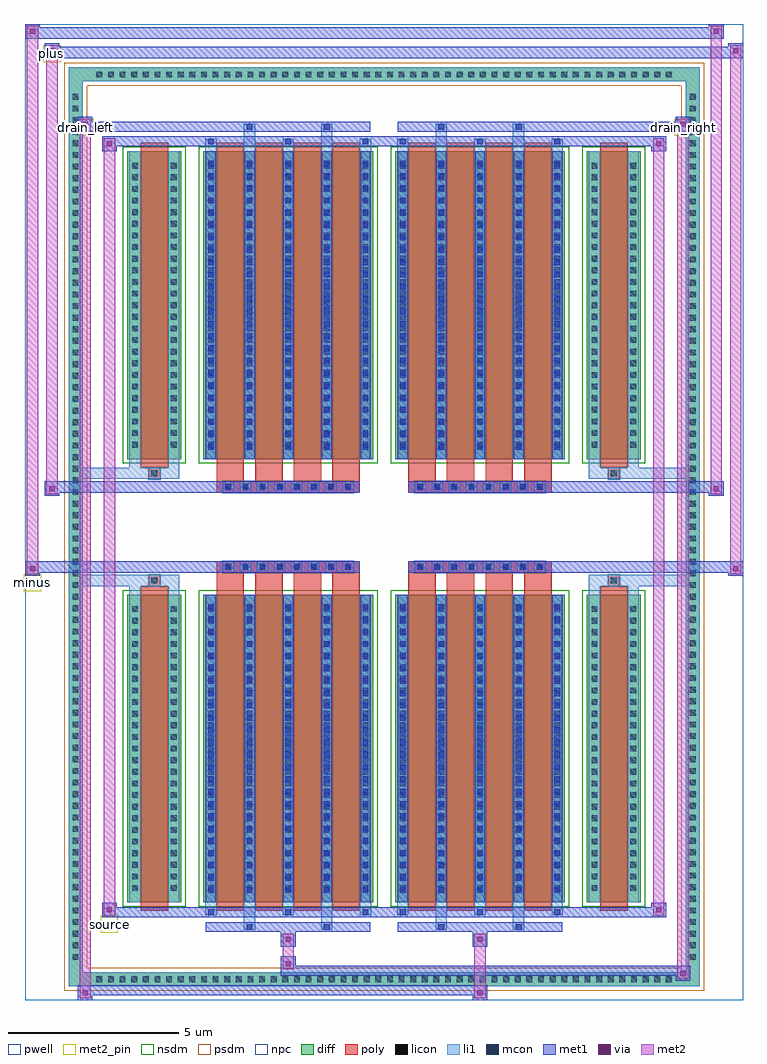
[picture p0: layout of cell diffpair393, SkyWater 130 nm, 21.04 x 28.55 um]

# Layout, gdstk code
import gdstk
lib = gdstk.Library(unit=1e-6, precision=5e-09)
def R(c, l, rs):  # rectangles x0, y0, x1, y1
    for r in rs: c.add(gdstk.rectangle(r[:2], r[2:], *l))
def A(c, l, x, y, w, h, nx, ny, dx, dy):  # array of equal rectangles
    R(c, l, [(x+i*dx, y+j*dy, x+i*dx+w, y+j*dy+h) for i in range(nx) for j in range(ny)])
def P(c, l, *ps):  # polygons
    for p in ps: c.add(gdstk.Polygon(p, *l))
pwell = (64, 44)
diff = (65, 20)
poly = (66, 20)
licon = (66, 44)
li1 = (67, 20)
mcon = (67, 44)
met1 = (68, 20)
via = (68, 44)
met2_pin = (69, 16)
met2 = (69, 20)
nsdm = (93, 44)
psdm = (94, 20)
npc = (95, 20)

diffpair393 = lib.new_cell('diffpair393')
R(diffpair393, pwell, [(-10.5,-13.84,10.5,14.71), (-7.82,-12.03,-0.01,-0.805), (0.01,-12.03,7.82,-0.805), (-7.82,0.805,-0.01,12.03), (0.01,0.805,7.82,12.03)])
A(diffpair393, diff, -8.535, -13.44, 0.41, 0.41, 50, 2, 0.34, 26.47)
A(diffpair393, diff, -9.23, -12.785, 0.41, 0.41, 1, 75, 0, 0.34)
A(diffpair393, diff, 8.82, -12.785, 0.41, 0.41, 1, 75, 0, 0.34)
R(diffpair393, diff, [(-8.535,-13.44,8.535,-13.03), (-9.23,-12.785,-8.82,12.785), (8.82,-12.785,9.23,12.785), (-7.51,-10.985,-5.93,-1.985), (-5.29,-10.985,-0.32,-1.985), (0.32,-10.985,5.29,-1.985), (5.93,-10.985,7.51,-1.985), (-7.51,1.985,-5.93,10.985), (-5.29,1.985,-0.32,10.985), (0.32,1.985,5.29,10.985), (5.93,1.985,7.51,10.985), (-8.535,13.03,8.535,13.44)])
P(diffpair393, diff, [(9.23,13.44),(-9.23,13.44),(-9.23,-13.03),(-8.82,-13.03),(-8.82,13.03),(8.82,13.03),(8.82,-13.03),(-8.82,-13.03),(-9.23,-13.03),(-9.23,-13.44),(9.23,-13.44)])
A(diffpair393, poly, -4.9, -11.235, 0.8, 9.5, 4, 2, 1.13, 12.97)
A(diffpair393, poly, 0.71, -11.235, 0.8, 9.5, 4, 2, 1.13, 12.97)
A(diffpair393, poly, -4.9, -1.735, 0.8, 0.4, 4, 2, 1.13, 3.07)
A(diffpair393, poly, 0.71, -1.735, 0.8, 0.4, 4, 2, 1.13, 3.07)
A(diffpair393, poly, -4.72, -1.335, 0.33, 0.33, 8, 2, 0.5, 2.34)
A(diffpair393, poly, 0.89, -1.335, 0.33, 0.33, 8, 2, 0.5, 2.34)
R(diffpair393, poly, [(-7.12,-11.235,-6.32,-1.735), (6.32,-11.235,7.12,-1.735), (-6.885,-1.735,-6.555,-1.405), (-6.885,-1.735,-6.555,-1.405), (6.555,-1.735,6.885,-1.405), (6.555,-1.735,6.885,-1.405), (-4.9,-1.335,-0.71,-1.005), (0.71,-1.335,4.9,-1.005), (-4.9,1.005,-0.71,1.335), (0.71,1.005,4.9,1.335), (-6.885,1.405,-6.555,1.735), (-6.885,1.405,-6.555,1.735), (6.555,1.405,6.885,1.735), (6.555,1.405,6.885,1.735), (-7.12,1.735,-6.32,11.235), (6.32,1.735,7.12,11.235)])
A(diffpair393, licon, -8.415, -13.32, 0.17, 0.17, 50, 2, 0.34, 26.47)
A(diffpair393, licon, -9.11, -12.665, 0.17, 0.17, 1, 75, 0, 0.34)
A(diffpair393, licon, 8.94, -12.665, 0.17, 0.17, 1, 75, 0, 0.34)
A(diffpair393, licon, -7.37, -10.65, 0.17, 0.17, 1, 25, 0, 0.34)
A(diffpair393, licon, -6.24, -10.65, 0.17, 0.17, 1, 25, 0, 0.34)
A(diffpair393, licon, -5.15, -10.65, 0.17, 0.17, 5, 25, 1.13, 0.34)
A(diffpair393, licon, 0.46, -10.65, 0.17, 0.17, 5, 25, 1.13, 0.34)
A(diffpair393, licon, 6.07, -10.65, 0.17, 0.17, 1, 25, 0, 0.34)
A(diffpair393, licon, 7.2, -10.65, 0.17, 0.17, 1, 25, 0, 0.34)
A(diffpair393, licon, -4.64, -1.255, 0.17, 0.17, 8, 2, 0.5, 2.34)
A(diffpair393, licon, 0.97, -1.255, 0.17, 0.17, 8, 2, 0.5, 2.34)
A(diffpair393, licon, -7.37, 2.32, 0.17, 0.17, 1, 25, 0, 0.34)
A(diffpair393, licon, -6.24, 2.32, 0.17, 0.17, 1, 25, 0, 0.34)
A(diffpair393, licon, -5.15, 2.32, 0.17, 0.17, 5, 25, 1.13, 0.34)
A(diffpair393, licon, 0.46, 2.32, 0.17, 0.17, 5, 25, 1.13, 0.34)
A(diffpair393, licon, 6.07, 2.32, 0.17, 0.17, 1, 25, 0, 0.34)
A(diffpair393, licon, 7.2, 2.32, 0.17, 0.17, 1, 25, 0, 0.34)
R(diffpair393, licon, [(-6.805,-1.655,-6.635,-1.485), (6.635,-1.655,6.805,-1.485), (-6.805,1.485,-6.635,1.655), (6.635,1.485,6.805,1.655)])
A(diffpair393, li1, -8.495, -13.4, 0.33, 0.33, 50, 2, 0.34, 26.47)
A(diffpair393, li1, -9.19, -12.745, 0.33, 0.33, 1, 75, 0, 0.34)
A(diffpair393, li1, 8.86, -12.745, 0.33, 0.33, 1, 75, 0, 0.34)
A(diffpair393, li1, -5.23, -11.36, 0.33, 0.375, 3, 2, 2.26, 22.345)
A(diffpair393, li1, -5.15, -11.36, 0.17, 0.17, 3, 2, 2.26, 22.55)
A(diffpair393, li1, 0.38, -11.36, 0.33, 0.375, 3, 2, 2.26, 22.345)
A(diffpair393, li1, 0.46, -11.36, 0.17, 0.17, 3, 2, 2.26, 22.55)
A(diffpair393, li1, -5.23, -10.985, 0.33, 9, 5, 2, 1.13, 12.97)
A(diffpair393, li1, 0.38, -10.985, 0.33, 9, 5, 2, 1.13, 12.97)
A(diffpair393, li1, -7.45, -10.73, 0.33, 0.33, 1, 25, 0, 0.34)
A(diffpair393, li1, -6.32, -10.73, 0.33, 0.33, 1, 25, 0, 0.34)
A(diffpair393, li1, -5.23, -10.73, 0.33, 0.33, 5, 25, 1.13, 0.34)
A(diffpair393, li1, 0.38, -10.73, 0.33, 0.33, 5, 25, 1.13, 0.34)
A(diffpair393, li1, 5.99, -10.73, 0.33, 0.33, 1, 25, 0, 0.34)
A(diffpair393, li1, 7.12, -10.73, 0.33, 0.33, 1, 25, 0, 0.34)
A(diffpair393, li1, -5.15, -10.71, 0.17, 0.17, 5, 24, 1.13, 0.36)
A(diffpair393, li1, -5.15, -10.71, 0.17, 8.45, 5, 2, 1.13, 12.97)
A(diffpair393, li1, 0.46, -10.71, 0.17, 0.17, 5, 24, 1.13, 0.36)
A(diffpair393, li1, 0.46, -10.71, 0.17, 8.45, 5, 2, 1.13, 12.97)
A(diffpair393, li1, -4.72, -1.335, 0.33, 0.33, 8, 2, 0.5, 2.34)
A(diffpair393, li1, 0.89, -1.335, 0.33, 0.33, 8, 2, 0.5, 2.34)
A(diffpair393, li1, -7.45, 2.24, 0.33, 0.33, 1, 25, 0, 0.34)
A(diffpair393, li1, -6.32, 2.24, 0.33, 0.33, 1, 25, 0, 0.34)
A(diffpair393, li1, -5.23, 2.24, 0.33, 0.33, 5, 25, 1.13, 0.34)
A(diffpair393, li1, 0.38, 2.24, 0.33, 0.33, 5, 25, 1.13, 0.34)
A(diffpair393, li1, 5.99, 2.24, 0.33, 0.33, 1, 25, 0, 0.34)
A(diffpair393, li1, 7.12, 2.24, 0.33, 0.33, 1, 25, 0, 0.34)
A(diffpair393, li1, -5.15, 2.26, 0.17, 0.17, 5, 24, 1.13, 0.36)
A(diffpair393, li1, 0.46, 2.26, 0.17, 0.17, 5, 24, 1.13, 0.36)
R(diffpair393, li1, [(-9.23,-13.44,-8.82,-13.03), (-9.23,-13.44,-8.82,-13.03), (-8.82,-13.44,8.82,-13.03), (8.82,-13.44,9.23,-13.03), (8.82,-13.44,9.23,-13.03), (-9.23,-13.03,-8.82,13.03), (8.82,-13.03,9.23,13.03), (-4.1,-11.79,-3.77,-10.985), (-4.02,-11.79,-3.85,-11.62), (-1.84,-11.79,-1.51,-10.985), (-1.76,-11.79,-1.59,-11.62), (1.51,-11.79,1.84,-10.985), (1.59,-11.79,1.76,-11.62), (3.77,-11.79,4.1,-10.985), (3.85,-11.79,4.02,-11.62), (-7.45,-10.985,-7.12,-1.985), (-6.32,-10.985,-5.99,-1.985), (5.99,-10.985,6.32,-1.985), (7.12,-10.985,7.45,-1.985), (-7.45,-1.985,-7.12,-1.405), (-6.32,-1.985,-5.99,-1.405), (5.99,-1.985,6.32,-1.405), (7.12,-1.985,7.45,-1.405), (-9.23,-1.735,-6.885,-1.405), (-7.45,-1.735,-6.885,-1.405), (-6.885,-1.735,-6.555,-1.405), (-6.555,-1.735,-5.99,-1.405), (5.99,-1.735,6.555,-1.405), (6.555,-1.735,6.885,-1.405), (6.555,-1.735,9.23,-1.405), (6.885,-1.735,7.45,-1.405), (-9.23,1.405,-6.885,1.735), (-7.45,1.405,-6.885,1.735), (-7.45,1.405,-7.12,1.985), (-6.885,1.405,-6.555,1.735), (-6.555,1.405,-5.99,1.735), (-6.32,1.405,-5.99,1.985), (5.99,1.405,6.555,1.735), (5.99,1.405,6.32,1.985), (6.555,1.405,6.885,1.735), (6.555,1.405,9.23,1.735), (6.885,1.405,7.45,1.735), (7.12,1.405,7.45,1.985), (-7.45,1.985,-7.12,10.985), (-6.32,1.985,-5.99,10.985), (5.99,1.985,6.32,10.985), (7.12,1.985,7.45,10.985), (-4.1,10.985,-3.77,11.79), (-1.84,10.985,-1.51,11.79), (1.51,10.985,1.84,11.79), (3.77,10.985,4.1,11.79), (-4.02,11.62,-3.85,11.79), (-1.76,11.62,-1.59,11.79), (1.59,11.62,1.76,11.79), (3.85,11.62,4.02,11.79), (-9.23,13.03,-8.82,13.44), (-9.23,13.03,-8.82,13.44), (-8.82,13.03,8.82,13.44), (8.82,13.03,9.23,13.44), (8.82,13.03,9.23,13.44)])
A(diffpair393, mcon, -5.15, -11.36, 0.17, 0.17, 3, 2, 2.26, 22.55)
A(diffpair393, mcon, 0.46, -11.36, 0.17, 0.17, 3, 2, 2.26, 22.55)
A(diffpair393, mcon, -5.15, -10.71, 0.17, 0.17, 5, 24, 1.13, 0.36)
A(diffpair393, mcon, 0.46, -10.71, 0.17, 0.17, 5, 24, 1.13, 0.36)
A(diffpair393, mcon, -4.64, -1.255, 0.17, 0.17, 8, 2, 0.5, 2.34)
A(diffpair393, mcon, 0.97, -1.255, 0.17, 0.17, 8, 2, 0.5, 2.34)
A(diffpair393, mcon, -5.15, 2.26, 0.17, 0.17, 5, 24, 1.13, 0.36)
A(diffpair393, mcon, 0.46, 2.26, 0.17, 0.17, 5, 24, 1.13, 0.36)
R(diffpair393, mcon, [(-4.02,-11.79,-3.85,-11.62), (-1.76,-11.79,-1.59,-11.62), (1.59,-11.79,1.76,-11.62), (3.85,-11.79,4.02,-11.62), (-4.02,11.62,-3.85,11.79), (-1.76,11.62,-1.59,11.79), (1.59,11.62,1.76,11.79), (3.85,11.62,4.02,11.79)])
A(diffpair393, met1, -5.21, -11.42, 0.29, 0.29, 3, 2, 2.26, 22.55)
A(diffpair393, met1, 0.4, -11.42, 0.29, 0.29, 3, 2, 2.26, 22.55)
A(diffpair393, met1, -5.21, -10.985, 0.29, 9, 5, 2, 1.13, 12.97)
A(diffpair393, met1, 0.4, -10.985, 0.29, 9, 5, 2, 1.13, 12.97)
A(diffpair393, met1, -5.21, -10.77, 0.29, 0.29, 5, 24, 1.13, 0.36)
A(diffpair393, met1, 0.4, -10.77, 0.29, 0.29, 5, 24, 1.13, 0.36)
A(diffpair393, met1, -4.7, -1.315, 0.29, 0.29, 8, 2, 0.5, 2.34)
A(diffpair393, met1, 0.91, -1.315, 0.29, 0.29, 8, 2, 0.5, 2.34)
A(diffpair393, met1, -5.21, 2.2, 0.29, 0.29, 5, 24, 1.13, 0.36)
A(diffpair393, met1, 0.4, 2.2, 0.29, 0.29, 5, 24, 1.13, 0.36)
R(diffpair393, met1, [(-8.96,-13.84,-8.53,-13.41), (2.59,-13.84,3.02,-13.41), (-8.96,-13.7,3.02,-13.41), (8.53,-13.27,8.96,-12.84), (-3.02,-13.13,8.96,-12.84), (-3.02,-12.99,-2.59,-12.56), (-3.02,-12.28,-2.59,-11.85), (2.59,-12.28,3.02,-11.85), (-5.21,-11.85,-0.4,-11.56), (-4.08,-11.85,-3.79,-11.56), (-1.82,-11.85,-1.53,-11.56), (0.4,-11.85,5.21,-11.56), (1.53,-11.85,1.82,-11.56), (3.79,-11.85,4.08,-11.56), (-8.25,-11.42,-7.82,-10.99), (-8.25,-11.42,-5.21,-11.13), (-5.21,-11.42,-0.4,-11.13), (-0.4,-11.42,0.4,-11.13), (0.4,-11.42,5.21,-11.13), (5.21,-11.42,8.25,-11.13), (7.82,-11.42,8.25,-10.99), (-10.5,-1.435,-10.07,-1.005), (10.07,-1.435,10.5,-1.005), (-10.5,-1.335,-0.71,-1.005), (-4.9,-1.335,-0.71,-1.005), (0.71,-1.335,4.9,-1.005), (0.71,-1.335,10.5,-1.005), (-9.93,0.905,-9.5,1.335), (9.5,0.905,9.93,1.335), (-9.93,1.005,-4.9,1.335), (-4.9,1.005,-0.71,1.335), (0.71,1.005,4.9,1.335), (4.9,1.005,9.93,1.335), (-8.25,10.99,-7.82,11.42), (7.82,10.99,8.25,11.42), (-8.25,11.13,-5.21,11.42), (-5.21,11.13,-0.4,11.42), (-0.4,11.13,0.4,11.42), (0.4,11.13,5.21,11.42), (5.21,11.13,8.25,11.42), (-8.96,11.56,-8.53,11.99), (-8.96,11.56,-5.21,11.85), (-5.21,11.56,-0.4,11.85), (-4.08,11.56,-3.79,11.85), (-1.82,11.56,-1.53,11.85), (0.4,11.56,5.21,11.85), (1.53,11.56,1.82,11.85), (3.79,11.56,4.08,11.85), (5.21,11.56,8.96,11.85), (8.53,11.56,8.96,11.99), (-9.93,13.71,-9.5,14.14), (-9.93,13.71,-7.82,14.04), (-7.82,13.71,7.82,14.04), (7.82,13.71,10.5,14.04), (10.07,13.71,10.5,14.14), (-10.5,14.28,-10.07,14.71), (-10.5,14.28,-7.82,14.61), (-7.82,14.28,7.82,14.61), (7.82,14.28,9.93,14.61), (9.5,14.28,9.93,14.71)])
R(diffpair393, via, [(-8.82,-13.7,-8.67,-13.55), (2.73,-13.7,2.88,-13.55), (8.67,-13.13,8.82,-12.98), (-2.88,-12.85,-2.73,-12.7), (-2.88,-12.14,-2.73,-11.99), (2.73,-12.14,2.88,-11.99), (-8.11,-11.28,-7.96,-11.13), (7.96,-11.28,8.11,-11.13), (-10.36,-1.295,-10.21,-1.145), (10.21,-1.295,10.36,-1.145), (-9.79,1.045,-9.64,1.195), (9.64,1.045,9.79,1.195), (-8.11,11.13,-7.96,11.28), (7.96,11.13,8.11,11.28), (-8.82,11.7,-8.67,11.85), (8.67,11.7,8.82,11.85), (-9.79,13.85,-9.64,14), (10.21,13.85,10.36,14), (-10.36,14.42,-10.21,14.57), (9.64,14.42,9.79,14.57)])
R(diffpair393, met2_pin, [(-8.285,-11.87,-7.785,-11.37), (-10.535,-1.885,-10.035,-1.385), (-8.995,11.44,-8.495,11.94), (8.495,11.44,8.995,11.94), (-9.965,13.59,-9.465,14.09)])
R(diffpair393, met2, [(-8.91,-13.79,-8.58,-13.46), (-8.91,-13.79,-8.58,11.94), (2.64,-13.79,2.97,-13.46), (2.64,-13.46,2.97,-12.23), (8.58,-13.22,8.91,-12.89), (8.58,-13.22,8.91,11.94), (-2.97,-12.94,-2.64,-12.61), (-2.97,-12.61,-2.64,-12.23), (-2.97,-12.23,-2.64,-11.9), (2.64,-12.23,2.97,-11.9), (-8.2,-11.37,-7.87,-11.04), (-8.2,-11.37,-7.87,11.37), (7.87,-11.37,8.2,-11.04), (7.87,-11.37,8.2,11.37), (-10.45,-1.385,-10.12,-1.055), (-10.45,-1.385,-10.12,14.66), (10.12,-1.385,10.45,-1.055), (10.12,-1.385,10.45,14.09), (-9.88,0.955,-9.55,1.285), (-9.88,0.955,-9.55,14.09), (9.55,0.955,9.88,1.285), (9.55,0.955,9.88,14.66), (-8.2,11.04,-7.87,11.37), (7.87,11.04,8.2,11.37), (-8.91,11.61,-8.58,11.94), (8.58,11.61,8.91,11.94), (-9.88,13.76,-9.55,14.09), (10.12,13.76,10.45,14.09), (-10.45,14.33,-10.12,14.66), (9.55,14.33,9.88,14.66)])
P(diffpair393, met2, [(10.45,-1.385),(10.45,-1.385),(10.45,-1.055),(10.45,-1.055)],
  [(10.45,13.76),(10.45,13.76),(10.45,14.09),(10.45,14.09)],
  [(-10.12,-1.385),(-10.12,-1.385),(-10.12,-1.055),(-10.12,-1.055)],
  [(-10.12,14.33),(-10.12,14.33),(-10.12,14.66),(-10.12,14.66)],
  [(9.88,0.955),(9.88,0.955),(9.88,1.285),(9.88,1.285)],
  [(9.88,14.33),(9.88,14.33),(9.88,14.66),(9.88,14.66)],
  [(-9.55,0.955),(-9.55,0.955),(-9.55,1.285),(-9.55,1.285)],
  [(-9.55,13.76),(-9.55,13.76),(-9.55,14.09),(-9.55,14.09)],
  [(-8.58,-13.79),(-8.58,-13.79),(-8.58,-13.46),(-8.58,-13.46)],
  [(-8.58,11.61),(-8.58,11.61),(-8.58,11.94),(-8.58,11.94)],
  [(8.91,-13.22),(8.91,-13.22),(8.91,-12.89),(8.91,-12.89)],
  [(8.91,11.61),(8.91,11.61),(8.91,11.94),(8.91,11.94)],
  [(-7.87,-11.37),(-7.87,-11.37),(-7.87,-11.04),(-7.87,-11.04)],
  [(-7.87,11.04),(-7.87,11.04),(-7.87,11.37),(-7.87,11.37)],
  [(8.2,-11.37),(8.2,-11.37),(8.2,-11.04),(8.2,-11.04)],
  [(8.2,11.04),(8.2,11.04),(8.2,11.37),(8.2,11.37)])
R(diffpair393, nsdm, [(-7.64,-11.115,-5.8,-1.855), (-5.42,-11.115,-0.19,-1.855), (0.19,-11.115,5.42,-1.855), (5.8,-11.115,7.64,-1.855), (-7.64,1.855,-5.8,11.115), (-5.42,1.855,-0.19,11.115), (0.19,1.855,5.42,11.115), (5.8,1.855,7.64,11.115)])
P(diffpair393, psdm, [(9.36,13.57),(-9.36,13.57),(-9.36,-12.9),(-8.69,-12.9),(-8.69,12.9),(8.69,12.9),(8.69,-12.9),(-8.69,-12.9),(-9.36,-12.9),(-9.36,-13.57),(9.36,-13.57)])
A(diffpair393, npc, -4.74, -1.355, 0.37, 0.37, 8, 2, 0.5, 2.34)
A(diffpair393, npc, 0.87, -1.355, 0.37, 0.37, 8, 2, 0.5, 2.34)
R(diffpair393, npc, [(-6.905,-1.755,-6.535,-1.385), (6.535,-1.755,6.905,-1.385), (-4.74,-1.355,-3.87,-0.985), (-4.74,-1.355,-3.87,-0.985), (-4.24,-1.355,-3.37,-0.985), (-4.24,-1.355,-3.37,-0.985), (-3.74,-1.355,-2.87,-0.985), (-3.74,-1.355,-2.87,-0.985), (-3.24,-1.355,-2.37,-0.985), (-3.24,-1.355,-2.37,-0.985), (-2.74,-1.355,-1.87,-0.985), (-2.74,-1.355,-1.87,-0.985), (-2.24,-1.355,-1.37,-0.985), (-2.24,-1.355,-1.37,-0.985), (-1.74,-1.355,-0.87,-0.985), (-1.74,-1.355,-0.87,-0.985), (0.87,-1.355,1.74,-0.985), (0.87,-1.355,1.74,-0.985), (1.37,-1.355,2.24,-0.985), (1.37,-1.355,2.24,-0.985), (1.87,-1.355,2.74,-0.985), (1.87,-1.355,2.74,-0.985), (2.37,-1.355,3.24,-0.985), (2.37,-1.355,3.24,-0.985), (2.87,-1.355,3.74,-0.985), (2.87,-1.355,3.74,-0.985), (3.37,-1.355,4.24,-0.985), (3.37,-1.355,4.24,-0.985), (3.87,-1.355,4.74,-0.985), (3.87,-1.355,4.74,-0.985), (-4.74,0.985,-3.87,1.355), (-4.74,0.985,-3.87,1.355), (-4.24,0.985,-3.37,1.355), (-4.24,0.985,-3.37,1.355), (-3.74,0.985,-2.87,1.355), (-3.74,0.985,-2.87,1.355), (-3.24,0.985,-2.37,1.355), (-3.24,0.985,-2.37,1.355), (-2.74,0.985,-1.87,1.355), (-2.74,0.985,-1.87,1.355), (-2.24,0.985,-1.37,1.355), (-2.24,0.985,-1.37,1.355), (-1.74,0.985,-0.87,1.355), (-1.74,0.985,-0.87,1.355), (0.87,0.985,1.74,1.355), (0.87,0.985,1.74,1.355), (1.37,0.985,2.24,1.355), (1.37,0.985,2.24,1.355), (1.87,0.985,2.74,1.355), (1.87,0.985,2.74,1.355), (2.37,0.985,3.24,1.355), (2.37,0.985,3.24,1.355), (2.87,0.985,3.74,1.355), (2.87,0.985,3.74,1.355), (3.37,0.985,4.24,1.355), (3.37,0.985,4.24,1.355), (3.87,0.985,4.74,1.355), (3.87,0.985,4.74,1.355), (-6.905,1.385,-6.535,1.755), (6.535,1.385,6.905,1.755)])
diffpair393.add(gdstk.Label('minus', (-10.285,-1.635), layer=69, texttype=5))
diffpair393.add(gdstk.Label('drain_right', (8.745,11.69), layer=69, texttype=5))
diffpair393.add(gdstk.Label('drain_left', (-8.745,11.69), layer=69, texttype=5))
diffpair393.add(gdstk.Label('source', (-8.035,-11.62), layer=69, texttype=5))
diffpair393.add(gdstk.Label('plus', (-9.715,13.84), layer=69, texttype=5))

lib.write_gds('diffpair393.gds')
